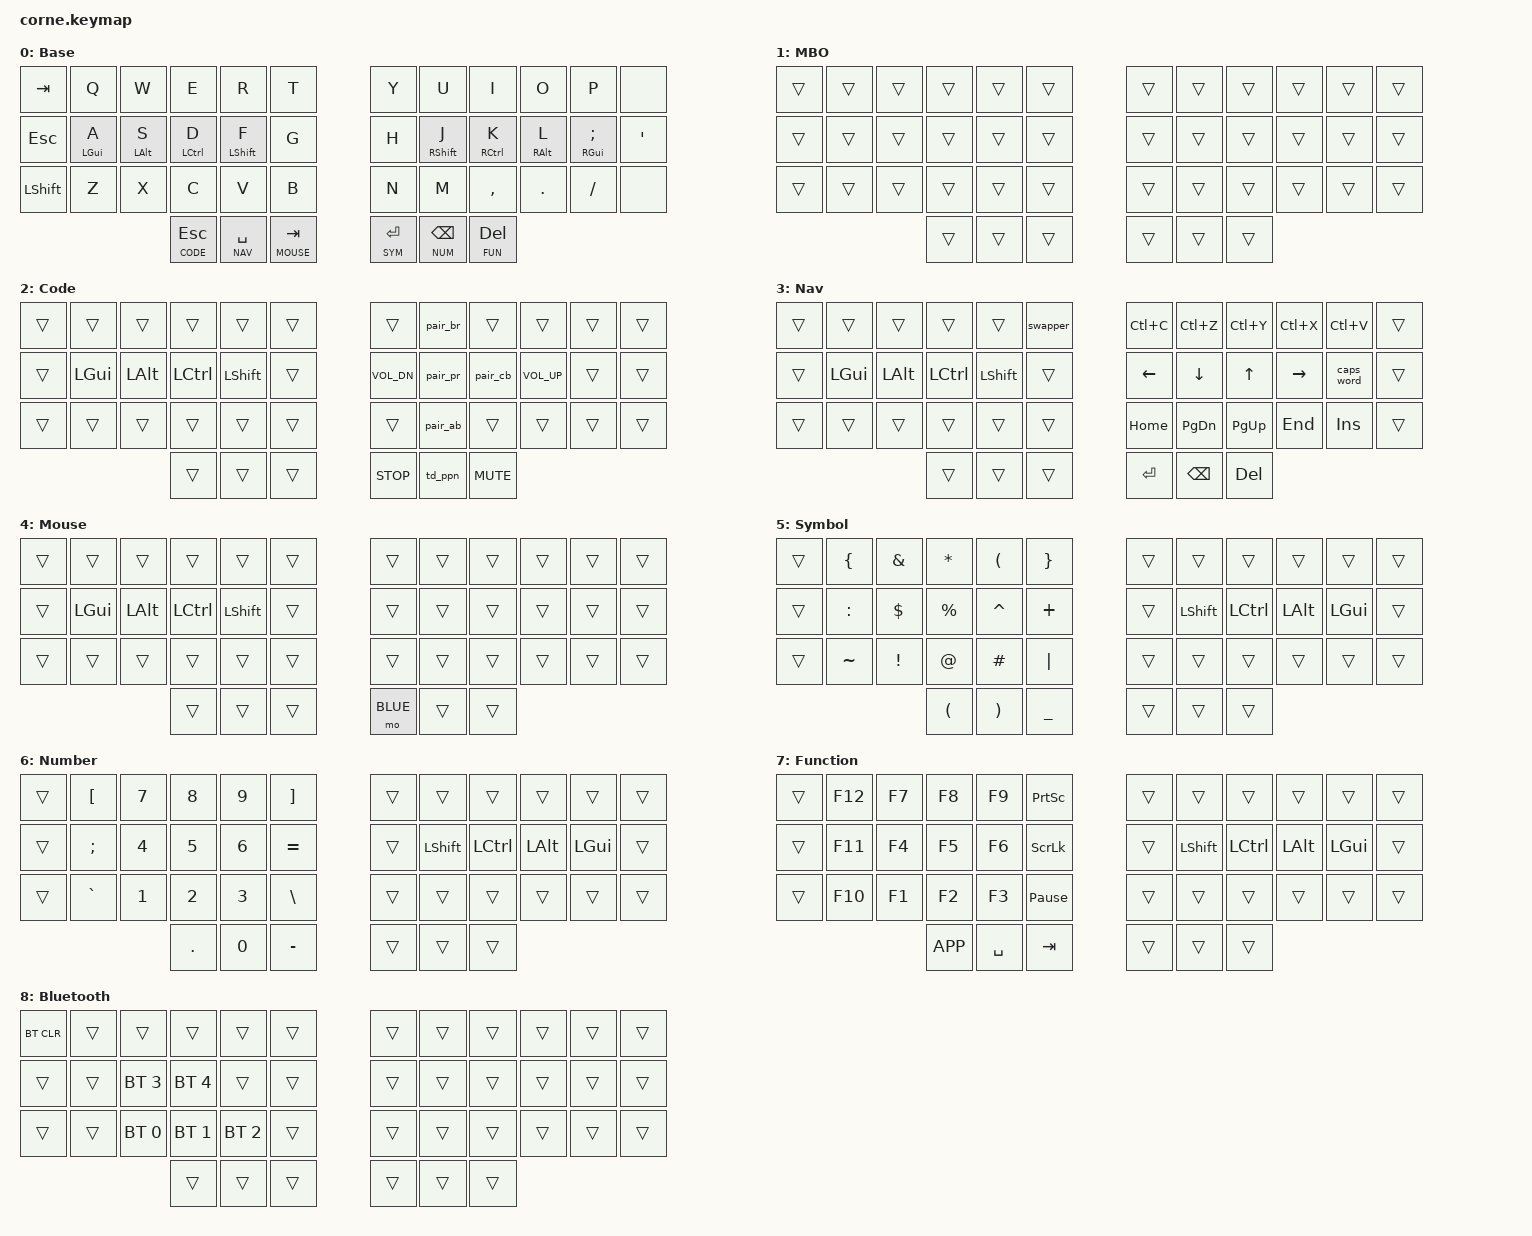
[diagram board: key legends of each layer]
/*
 * Copyright (c) 2020 The ZMK Contributors
 *
 * SPDX-License-Identifier: MIT
 */

#include <behaviors.dtsi>
#include <dt-bindings/zmk/bt.h>
#include <dt-bindings/zmk/keys.h>

/* @TODO
[ ] Look into cross-hand only modifiers? I don't know what that even is!
[ ] Figure out how to replace CG_TOGG in ZMK, to support both win and macos
    Maybe the solution is to just swap them at the OS level in macos?
[ ] Better Alt-tab support?
*/
// Layer Def

#define BASE  0
#define MBO   1
#define CODE  2
#define NAV   3
#define MOUSE 4
#define SYM   5
#define NUM   6
#define FUN   7
#define BLUE  8

/ {
    behaviors {
        hm: homerow_mods {
            compatible = "zmk,behavior-hold-tap";
            label = "home row mods";
            #binding-cells = <2>;
            tapping-term-ms = <200>;
            quick-tap-ms = <200>;
            flavor = "tap-preferred";
            bindings = <&kp>, <&kp>;
        };
        u_lt: layer_tap {
            compatible = "zmk,behavior-hold-tap";
            label = "layer tap";
            #binding-cells = <2>;
            tapping_term_ms = <200>;
            quick-tap-ms = <200>;
            flavor = "tap-preferred";
            bindings = <&mo>, <&kp>;
        };
        td_ppn: tapdance_play_pause_next {
            compatible = "zmk,behavior-tap-dance";
            label = "Tap Dance Play/Pause, Next";
            #binding-cells = <0>;
            // Lower than normal tapping term here, since the delay to <play/pause> is noticeable at 200
            tapping-term-ms = <150>;
            bindings = <&kp C_PLAY_PAUSE>, <&kp C_NEXT>;
        };
        // Trying an experimental branch
        // Swapper for smart alt+tab
        swapper: swapper {
            compatible = "zmk,behavior-tri-state";
            label = "SWAPPER";
            #binding-cells = <0>;
            bindings = <&kt LALT>, <&kp TAB>, <&kt LALT>;
            ignored-key-positions = <18 19 20 21>; // Ignore arrow keys
        };
    };

    macros {
        pair_pr: pair_pr {
            compatible = "zmk,behavior-macro";
            #binding-cells = <0>;
            bindings = <&kp LEFT_PARENTHESIS &kp RIGHT_PARENTHESIS &kp LEFT>;
            label = "Pair Parenthesis";
        };

        pair_br: pair_br {
            compatible = "zmk,behavior-macro";
            #binding-cells = <0>;
            bindings = <&kp LEFT_BRACKET &kp RIGHT_BRACKET &kp LEFT>;
            label = "Pair Brackets";
        };

        pair_cb: pair_cb {
            compatible = "zmk,behavior-macro";
            #binding-cells = <0>;
            bindings = <&kp LEFT_BRACE &kp RIGHT_BRACE &kp LEFT>;
            label = "Pair Braces";
        };

        pair_ab: pair_ab {
            compatible = "zmk,behavior-macro";
            #binding-cells = <0>;
            bindings = <&kp LESS_THAN &kp GREATER_THAN &kp LEFT>;
            label = "Pair Angles";
        };
    };

    keymap {
        compatible = "zmk,keymap";

        default_layer {
            label = "Base";
            bindings = <
&kp TAB    &kp Q       &kp W       &kp E           &kp R            &kp T              &kp Y            &kp U                &kp I             &kp O       &kp P          &none
&kp ESC    &hm LGUI A  &hm LALT S  &hm LCTRL D     &hm LSHFT F      &kp G              &kp H            &hm RSHFT J          &hm RCTRL K       &hm RALT L  &hm RGUI SEMI  &kp SQT
&kp LSHFT  &kp Z       &kp X       &kp C           &kp V            &kp B              &kp N            &kp M                &kp COMMA         &kp DOT     &kp FSLH       &none
                                   &u_lt CODE ESC  &u_lt NAV SPACE  &u_lt MOUSE TAB    &u_lt SYM ENTER  &u_lt NUM BACKSPACE  &u_lt FUN DELETE
            >;
        };

        mbo_layer {
            label = "MBO";
            bindings = <
&trans  &trans  &trans  &trans  &trans  &trans    &trans  &trans  &trans  &trans  &trans  &trans
&trans  &trans  &trans  &trans  &trans  &trans    &trans  &trans  &trans  &trans  &trans  &trans
&trans  &trans  &trans  &trans  &trans  &trans    &trans  &trans  &trans  &trans  &trans  &trans
                        &trans  &trans  &trans    &trans  &trans  &trans
            >;
        };

        // Miryoku uses "media" for this layer, but I prefer to put code pair macros here instead.
        // The "media" here differes from Miryoku in that:
        // * I use vol up/down where they put prev/next
        // * I use a tapdance for play/pause, Next
        code_layer {
            label = "Code";
            bindings = <
&trans  &trans    &trans    &trans     &trans      &trans    &trans       &pair_br  &trans     &trans       &trans  &trans
&trans  &kp LGUI  &kp LALT  &kp LCTRL  &kp LSHIFT  &trans    &kp C_VOL_DN &pair_pr  &pair_cb   &kp C_VOL_UP &trans  &trans
&trans  &trans    &trans    &trans     &trans      &trans    &trans       &pair_ab  &trans     &trans       &trans  &trans
                            &trans     &trans      &trans    &kp C_STOP   &td_ppn   &kp C_MUTE
            >;
        };

        nav_layer {
            label = "Nav";
            bindings = <
&trans  &trans    &trans    &trans     &trans     &swapper       &kp LC(C)  &kp LC(Z)      &kp LC(Y)   &kp LC(X)  &kp LC(V)   &trans
&trans  &kp LGUI  &kp LALT  &kp LCTRL  &kp LSHFT  &trans         &kp LEFT   &kp DOWN       &kp UP      &kp RIGHT  &caps_word  &trans
&trans  &trans    &trans    &trans     &trans     &trans         &kp HOME   &kp PG_DN      &kp PG_UP   &kp END    &kp INSERT  &trans
                            &trans     &trans     &trans         &kp ENTER  &kp BACKSPACE  &kp DELETE
            >;
        };

        mouse_layer {
            label = "Mouse";
            bindings = <
&trans  &trans    &trans    &trans     &trans     &trans    &trans   &trans  &trans  &trans  &trans  &trans
&trans  &kp LGUI  &kp LALT  &kp LCTRL  &kp LSHFT  &trans    &trans   &trans  &trans  &trans  &trans  &trans
&trans  &trans    &trans    &trans     &trans     &trans    &trans   &trans  &trans  &trans  &trans  &trans
                            &trans     &trans     &trans    &mo BLUE &trans  &trans
            >;
        };

        sym_layer {
            label = "Symbol";
            bindings = <
&trans  &kp LEFT_BRACE  &kp AMPERSAND    &kp ASTERISK  &kp LPAR   &kp RBRC     &trans  &trans     &trans     &trans    &trans    &trans
&trans  &kp COLON       &kp DOLLAR       &kp PERCENT   &kp CARET  &kp PLUS     &trans  &kp LSHFT  &kp LCTRL  &kp LALT  &kp LGUI  &trans
&trans  &kp TILDE       &kp EXCLAMATION  &kp AT        &kp HASH   &kp PIPE     &trans  &trans     &trans     &trans    &trans    &trans
                                         &kp LPAR      &kp RPAR   &kp UNDER    &trans  &trans     &trans
            >;
        };

        num_layer {
            label = "Number";
            bindings = <
&trans  &kp LEFT_BRACKET  &kp N7  &kp N8   &kp N9  &kp RIGHT_BRACKET    &trans  &trans     &trans     &trans    &trans    &trans
&trans  &kp SEMICOLON     &kp N4  &kp N5   &kp N6  &kp EQUAL            &trans  &kp LSHFT  &kp LCTRL  &kp LALT  &kp LGUI  &trans
&trans  &kp GRAVE         &kp N1  &kp N2   &kp N3  &kp BACKSLASH        &trans  &trans     &trans     &trans    &trans    &trans
                                  &kp DOT  &kp N0  &kp MINUS            &trans  &trans     &trans
            >;
        };

        fun_layer {
            label = "Function";
            bindings = <
&trans  &kp F12  &kp F7  &kp F8     &kp F9     &kp PRINTSCREEN    &trans  &trans     &trans     &trans    &trans    &trans
&trans  &kp F11  &kp F4  &kp F5     &kp F6     &kp SCROLLLOCK     &trans  &kp LSHFT  &kp LCTRL  &kp LALT  &kp LGUI  &trans
&trans  &kp F10  &kp F1  &kp F2     &kp F3     &kp PAUSE_BREAK    &trans  &trans     &trans     &trans    &trans    &trans
                         &kp K_APP  &kp SPACE  &kp TAB            &trans  &trans     &trans
            >;
        };

        bt_layer {
            label = "Bluetooth";
            // The BT Selcts are "on the wrong numbers", but the display shows the number+1, so it makes more sense to put them there.
            // This way you press <BT> 1 to move to Connection "1"
            bindings = <
&bt BT_CLR  &trans  &trans        &trans        &trans        &trans    &trans  &trans  &trans  &trans  &trans  &trans
&trans      &trans  &bt BT_SEL 3  &bt BT_SEL 4  &trans        &trans    &trans  &trans  &trans  &trans  &trans  &trans
&trans      &trans  &bt BT_SEL 0  &bt BT_SEL 1  &bt BT_SEL 2  &trans    &trans  &trans  &trans  &trans  &trans  &trans
                                  &trans        &trans        &trans    &trans  &trans  &trans
            >;
        };
    };
};
